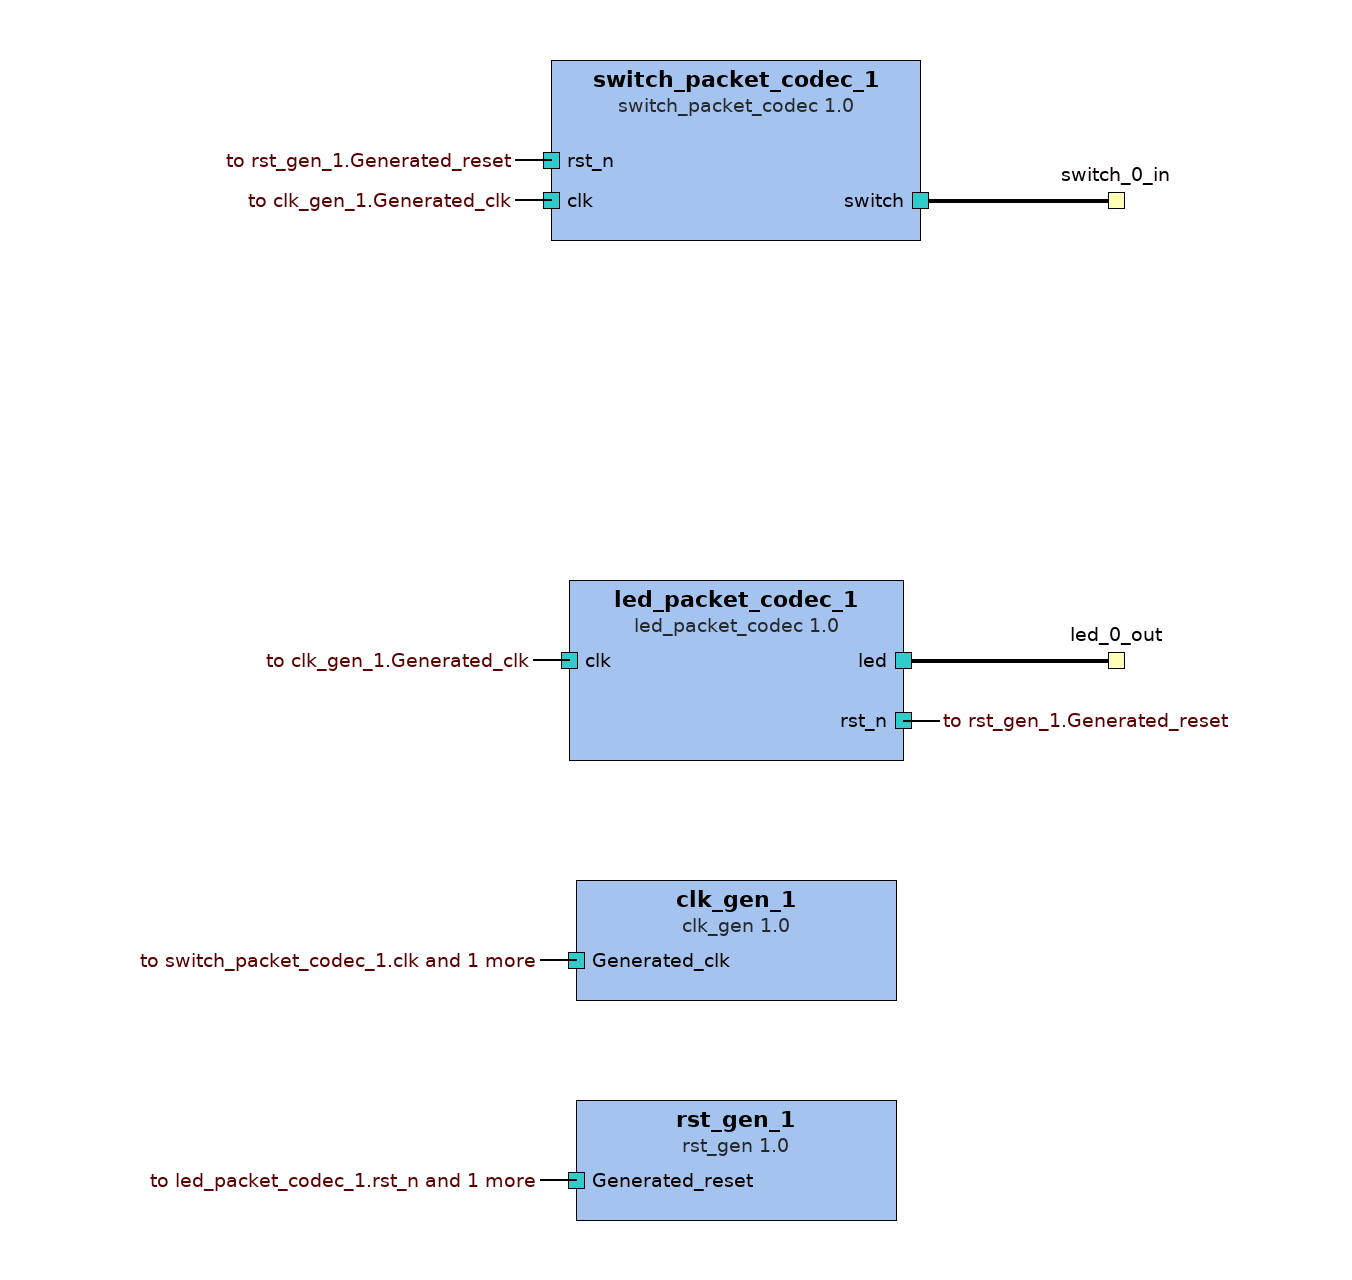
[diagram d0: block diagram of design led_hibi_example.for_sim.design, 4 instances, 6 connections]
<?xml version="1.0" encoding="UTF-8"?>
<!-- Created by Kactus2 - Open source IP-Xact toolset -->
<!-- http://sourceforge.net/projects/kactus2/ -->
<!-- Date: 04.07.2012 -->
<!-- Time: 14:08:26 -->
<spirit:design xmlns:kactus2="http://funbase.cs.tut.fi/" xmlns:spirit="http://www.spiritconsortium.org/XMLSchema/SPIRIT/1.5" xmlns:xsi="http://www.w3.org/2001/XMLSchema-instance" xsi:schemaLocation="http://www.spiritconsortium.org/XMLSchema/SPIRIT/1.5 http://www.spiritconsortium.org/XMLSchema/SPIRIT/1.5/index.xsd"><spirit:vendor>TUT</spirit:vendor><spirit:library>soc</spirit:library><spirit:name>led_hibi_example.for_sim.design</spirit:name>
 <spirit:version>1.0</spirit:version><spirit:componentInstances>
 <spirit:componentInstance><spirit:instanceName>led_packet_codec_1</spirit:instanceName><spirit:componentRef spirit:vendor="TUT" spirit:library="ip.hwp.interface" spirit:name="led_packet_codec" spirit:version="1.0"/></spirit:componentInstance>
 <spirit:componentInstance><spirit:instanceName>clk_gen_1</spirit:instanceName><spirit:componentRef spirit:vendor="TUT" spirit:library="ip.hwp.interface" spirit:name="clk_gen" spirit:version="1.0"/></spirit:componentInstance>
 <spirit:componentInstance><spirit:instanceName>rst_gen_1</spirit:instanceName><spirit:componentRef spirit:vendor="TUT" spirit:library="ip.hwp.interface" spirit:name="rst_gen" spirit:version="1.0"/></spirit:componentInstance>
 <spirit:componentInstance><spirit:instanceName>switch_packet_codec_1</spirit:instanceName><spirit:componentRef spirit:vendor="TUT" spirit:library="ip.hwp.interface" spirit:name="switch_packet_codec" spirit:version="1.0"/><spirit:configurableElementValues><spirit:configurableElementValue spirit:referenceId="my_id_g">16#03000000#</spirit:configurableElementValue></spirit:configurableElementValues></spirit:componentInstance>
</spirit:componentInstances><spirit:interconnections>
 <spirit:interconnection><spirit:name>rst_l_n</spirit:name><spirit:activeInterface spirit:componentRef="led_packet_codec_1" spirit:busRef="rst_n"/><spirit:activeInterface spirit:componentRef="rst_gen_1" spirit:busRef="Generated_reset"/></spirit:interconnection>
 <spirit:interconnection><spirit:name>rst_s_n</spirit:name><spirit:activeInterface spirit:componentRef="rst_gen_1" spirit:busRef="Generated_reset"/><spirit:activeInterface spirit:componentRef="switch_packet_codec_1" spirit:busRef="rst_n"/></spirit:interconnection>
 <spirit:interconnection><spirit:name>clk_s</spirit:name><spirit:activeInterface spirit:componentRef="clk_gen_1" spirit:busRef="Generated_clk"/><spirit:activeInterface spirit:componentRef="switch_packet_codec_1" spirit:busRef="clk"/></spirit:interconnection>
 <spirit:interconnection><spirit:name>clk_l</spirit:name><spirit:activeInterface spirit:componentRef="clk_gen_1" spirit:busRef="Generated_clk"/><spirit:activeInterface spirit:componentRef="led_packet_codec_1" spirit:busRef="clk"/></spirit:interconnection>
</spirit:interconnections>
 <spirit:hierConnections><spirit:hierConnection spirit:interfaceRef="led_0_out"><spirit:interface spirit:componentRef="led_packet_codec_1" spirit:busRef="led"/></spirit:hierConnection><spirit:hierConnection spirit:interfaceRef="switch_0_in"><spirit:interface spirit:componentRef="switch_packet_codec_1" spirit:busRef="switch"/></spirit:hierConnection></spirit:hierConnections>
</spirit:design>

